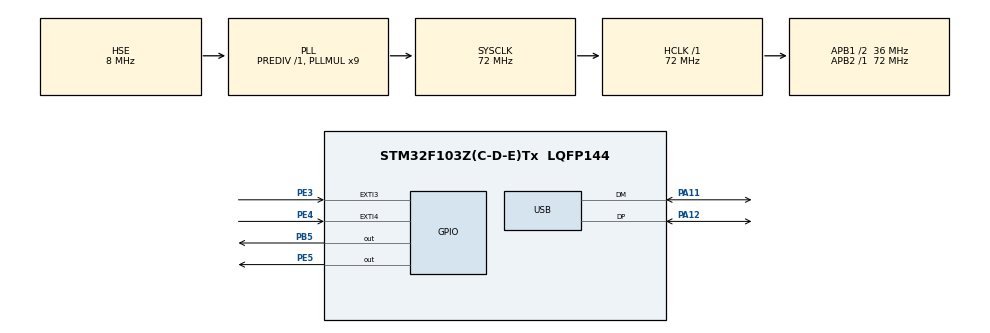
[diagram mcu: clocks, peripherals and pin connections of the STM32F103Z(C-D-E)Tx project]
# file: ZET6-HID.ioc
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Mcu.Family=STM32F1
Mcu.Name=STM32F103Z(C-D-E)Tx
Mcu.Package=LQFP144
NVIC.EXTI3_IRQn=true\:0\:0\:false\:false\:true\:true\:true\:true
NVIC.EXTI4_IRQn=true\:0\:0\:false\:false\:true\:true\:true\:true
NVIC.PriorityGroup=NVIC_PRIORITYGROUP_4
NVIC.USB_HP_CAN1_TX_IRQn=true\:0\:0\:false\:false\:true\:true\:true\:true
NVIC.USB_LP_CAN1_RX0_IRQn=true\:0\:0\:false\:false\:true\:true\:true\:true
OSC_IN.Mode=HSE-External-Oscillator
OSC_IN.Signal=RCC_OSC_IN
OSC_OUT.Mode=HSE-External-Oscillator
OSC_OUT.Signal=RCC_OSC_OUT
PA11.Mode=Device
PA11.Signal=USB_DM
PA12.Mode=Device
PA12.Signal=USB_DP
PA13.Mode=Serial_Wire
PA13.Signal=SYS_JTMS-SWDIO
PA14.Mode=Serial_Wire
PA14.Signal=SYS_JTCK-SWCLK
PB5.Signal=GPIO_Output
PE3.Signal=GPXTI3
PE4.Signal=GPXTI4
PE5.Signal=GPIO_Output
ProjectManager.HeapSize=0x200
ProjectManager.StackSize=0x400
ProjectManager.TargetToolchain=MDK-ARM V5.32
RCC.AHBFreq_Value=72000000
RCC.APB1CLKDivider=RCC_HCLK_DIV2
RCC.APB1Freq_Value=36000000
RCC.APB1TimFreq_Value=72000000
RCC.APB2Freq_Value=72000000
RCC.APB2TimFreq_Value=72000000
RCC.HCLKFreq_Value=72000000
RCC.PLLMUL=RCC_PLL_MUL9
RCC.SYSCLKFreq_VALUE=72000000
RCC.SYSCLKSource=RCC_SYSCLKSOURCE_PLLCLK
RCC.USBFreq_Value=48000000
RCC.USBPrescaler=RCC_USBCLKSOURCE_PLL_DIV1_5
USB_DEVICE.CLASS_NAME_FS=HID
USB_DEVICE.MANUFACTURER_STRING=MekLi-TJU
USB_DEVICE.VID=11553
USB_DEVICE.VirtualMode=Hid
USB_DEVICE.VirtualModeFS=Hid_FS
VP_USB_DEVICE_VS_USB_DEVICE_HID_FS.Mode=HID_FS
board=custom

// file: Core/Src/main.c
/* USER CODE BEGIN Header */
/**
 ******************************************************************************
 * @file           : main.c
 * @brief          : Main program body
 ******************************************************************************
 * @attention
 *
 * Copyright (c) 2025 STMicroelectronics.
 * All rights reserved.
 *
 * This software is licensed under terms that can be found in the LICENSE file
 * in the root directory of this software component.
 * If no LICENSE file comes with this software, it is provided AS-IS.
 *
 ******************************************************************************
 */
/* USER CODE END Header */
#include "gpio.h"
#include "main.h"
#include "usb_device.h"
#include "usbd_hid.h"

/* USER CODE BEGIN PM */
#define GET_HID_CODE(x) (x - 'a' + 4)
/* USER CODE END PM */

/* USER CODE BEGIN PV */
extern USBD_HandleTypeDef hUsbDeviceFS;
uint8_t hidBuffer[17];
uint8_t mouseBuffer[8] = {0x00};
/* USER CODE END PV */

void SystemClock_Config(void);

/* USER CODE BEGIN 0 */

void keyboard(uint8_t modify, uint8_t keyValue) {
    memset(hidBuffer, 0, 9);
    hidBuffer[0] = 0x01; // 报文ID
    hidBuffer[1] = modify;
    hidBuffer[3] = keyValue;
    USBD_HID_SendReport(&hUsbDeviceFS, hidBuffer, 9);
    HAL_Delay(10); // 添加短延迟，让主机处理这个按键状态

    // 释放所有按键（发送 0 报文）
    memset(hidBuffer + 1, 0, 8);
    USBD_HID_SendReport(&hUsbDeviceFS, hidBuffer, 9);
    HAL_Delay(10);
}

/* USER CODE END 0 */

int main(void) {

    /* MCU Configuration--------------------------------------------------------*/

    /* Reset of all peripherals, Initializes the Flash interface and the Systick. */
    HAL_Init();

    /* Configure the system clock */
    SystemClock_Config();

    /* Initialize all configured peripherals */
    MX_GPIO_Init();
    MX_USB_DEVICE_Init();
    /* USER CODE BEGIN 2 */
	mouseBuffer[0] = 0x02;

    HAL_Delay(1000);
    // keyboard(0x08, 0x00); // Win + R
    HAL_Delay(10);
    keyboard(0x08, 0x15);
    HAL_Delay(500);
    keyboard(0x00, 0x11); // n
    HAL_Delay(10);
    keyboard(0x00, 0x12); // o
    HAL_Delay(10);
    keyboard(0x00, 0x17); // t
    HAL_Delay(10);
    keyboard(0x00, 0x08); // e
    HAL_Delay(10);
    keyboard(0x00, 0x13); // p
    HAL_Delay(10);
    keyboard(0x00, 0x04); // a
    HAL_Delay(10);
    keyboard(0x00, 0x07); // d
    HAL_Delay(10);
    keyboard(0x00, 0x28); // Enter
    HAL_Delay(10);
    keyboard(0x00, 0x28); // Enter
	HAL_Delay(10);
	mouseBuffer[2] = 0x5;
	mouseBuffer[3] = 0x5;
	USBD_HID_SendReport(&hUsbDeviceFS, mouseBuffer, 5);
	HAL_Delay(10);
	USBD_HID_SendReport(&hUsbDeviceFS, mouseBuffer, 5);
	HAL_Delay(10);
	USBD_HID_SendReport(&hUsbDeviceFS, mouseBuffer, 5);
	HAL_Delay(10);
	USBD_HID_SendReport(&hUsbDeviceFS, mouseBuffer, 5);
	HAL_Delay(10);
	USBD_HID_SendReport(&hUsbDeviceFS, mouseBuffer, 5);
	HAL_Delay(10);
	HAL_Delay(500);
	keyboard(0x00, GET_HID_CODE('w'));
	keyboard(0x00, GET_HID_CODE('o'));
	keyboard(0x00, GET_HID_CODE('s'));
	keyboard(0x00, GET_HID_CODE('h'));
	keyboard(0x00, GET_HID_CODE('i'));
	keyboard(0x00, GET_HID_CODE('c'));
	keyboard(0x00, GET_HID_CODE('h'));
	keyboard(0x00, GET_HID_CODE('e'));
	keyboard(0x00, GET_HID_CODE('n'));
	keyboard(0x00, GET_HID_CODE('j'));
	keyboard(0x00, GET_HID_CODE('i'));
	keyboard(0x00, GET_HID_CODE('a'));
	keyboard(0x00, GET_HID_CODE('x'));
	keyboard(0x00, GET_HID_CODE('i'));
	keyboard(0x00, GET_HID_CODE('n'));
	keyboard(0x00, GET_HID_CODE('g'));
	keyboard(0x00, 0x2C);
	keyboard(0x00, 0x36);

	keyboard(0x00, GET_HID_CODE('w'));
	keyboard(0x00, GET_HID_CODE('o'));
	keyboard(0x00, GET_HID_CODE('s'));
	keyboard(0x00, GET_HID_CODE('h'));
	keyboard(0x00, GET_HID_CODE('i'));
	keyboard(0x00, GET_HID_CODE('g'));
	keyboard(0x00, GET_HID_CODE('e'));
	keyboard(0x00, GET_HID_CODE('s'));
	keyboard(0x00, GET_HID_CODE('h'));
	keyboard(0x00, GET_HID_CODE('a'));
	keyboard(0x00, GET_HID_CODE('b'));
	keyboard(0x00, GET_HID_CODE('i'));
	keyboard(0x00, 0x2C);

    HAL_Delay(1000);
    keyboard(0x04, 0x3D); // Alt + F4
	keyboard(0x00, 0x28); // Enter
		mouseBuffer[2] =0 - 0x20;
	mouseBuffer[3] =0 - 0x10;
	uint8_t count;

    /* USER CODE END 2 */

    /* Infinite loop */
    /* USER CODE BEGIN WHILE */
    while (1) {
	mouseBuffer[2] =0 - mouseBuffer[2];
	mouseBuffer[3] =0 - mouseBuffer[3];
	HAL_Delay(10);
	USBD_HID_SendReport(&hUsbDeviceFS, mouseBuffer, 5);
	HAL_Delay(10);
	USBD_HID_SendReport(&hUsbDeviceFS, mouseBuffer, 5);
	HAL_Delay(10);
	USBD_HID_SendReport(&hUsbDeviceFS, mouseBuffer, 5);
	HAL_Delay(10);
	USBD_HID_SendReport(&hUsbDeviceFS, mouseBuffer, 5);
	HAL_Delay(10);
	USBD_HID_SendReport(&hUsbDeviceFS, mouseBuffer, 5);
	HAL_Delay(10);
	USBD_HID_SendReport(&hUsbDeviceFS, mouseBuffer, 5);
	HAL_Delay(10);
	USBD_HID_SendReport(&hUsbDeviceFS, mouseBuffer, 5);
	HAL_Delay(10);
	USBD_HID_SendReport(&hUsbDeviceFS, mouseBuffer, 5);
	HAL_Delay(10);
	USBD_HID_SendReport(&hUsbDeviceFS, mouseBuffer, 5);
	HAL_Delay(10);
	USBD_HID_SendReport(&hUsbDeviceFS, mouseBuffer, 5);
	HAL_Delay(10);

	HAL_Delay(500);
	if(count % 3 == 0) {
		count++;

	keyboard(0x00, 0x28); // Enter
	}

        /* USER CODE END WHILE */

    }
}

void SystemClock_Config(void) {
    RCC_OscInitTypeDef RCC_OscInitStruct   = {0};
    RCC_ClkInitTypeDef RCC_ClkInitStruct   = {0};
    RCC_PeriphCLKInitTypeDef PeriphClkInit = {0};

    /** Initializes the RCC Oscillators according to the specified parameters
     * in the RCC_OscInitTypeDef structure.
     */
    RCC_OscInitStruct.OscillatorType       = RCC_OSCILLATORTYPE_HSE;
    RCC_OscInitStruct.HSEState             = RCC_HSE_ON;
    RCC_OscInitStruct.HSEPredivValue       = RCC_HSE_PREDIV_DIV1;
    RCC_OscInitStruct.HSIState             = RCC_HSI_ON;
    RCC_OscInitStruct.PLL.PLLState         = RCC_PLL_ON;
    RCC_OscInitStruct.PLL.PLLSource        = RCC_PLLSOURCE_HSE;
    RCC_OscInitStruct.PLL.PLLMUL           = RCC_PLL_MUL9;
    if (HAL_RCC_OscConfig(&RCC_OscInitStruct) != HAL_OK) {
        Error_Handler();
    }

    /** Initializes the CPU, AHB and APB buses clocks
     */
    RCC_ClkInitStruct.ClockType = RCC_CLOCKTYPE_HCLK | RCC_CLOCKTYPE_SYSCLK | RCC_CLOCKTYPE_PCLK1 | RCC_CLOCKTYPE_PCLK2;
    RCC_ClkInitStruct.SYSCLKSource   = RCC_SYSCLKSOURCE_PLLCLK;
    RCC_ClkInitStruct.AHBCLKDivider  = RCC_SYSCLK_DIV1;
    RCC_ClkInitStruct.APB1CLKDivider = RCC_HCLK_DIV2;
    RCC_ClkInitStruct.APB2CLKDivider = RCC_HCLK_DIV1;

    if (HAL_RCC_ClockConfig(&RCC_ClkInitStruct, FLASH_LATENCY_2) != HAL_OK) {
        Error_Handler();
    }
    PeriphClkInit.PeriphClockSelection = RCC_PERIPHCLK_USB;
    PeriphClkInit.UsbClockSelection    = RCC_USBCLKSOURCE_PLL_DIV1_5;
    if (HAL_RCCEx_PeriphCLKConfig(&PeriphClkInit) != HAL_OK) {
        Error_Handler();
    }
}

void Error_Handler(void) {
    __disable_irq();
    while (1) {
    }
}
